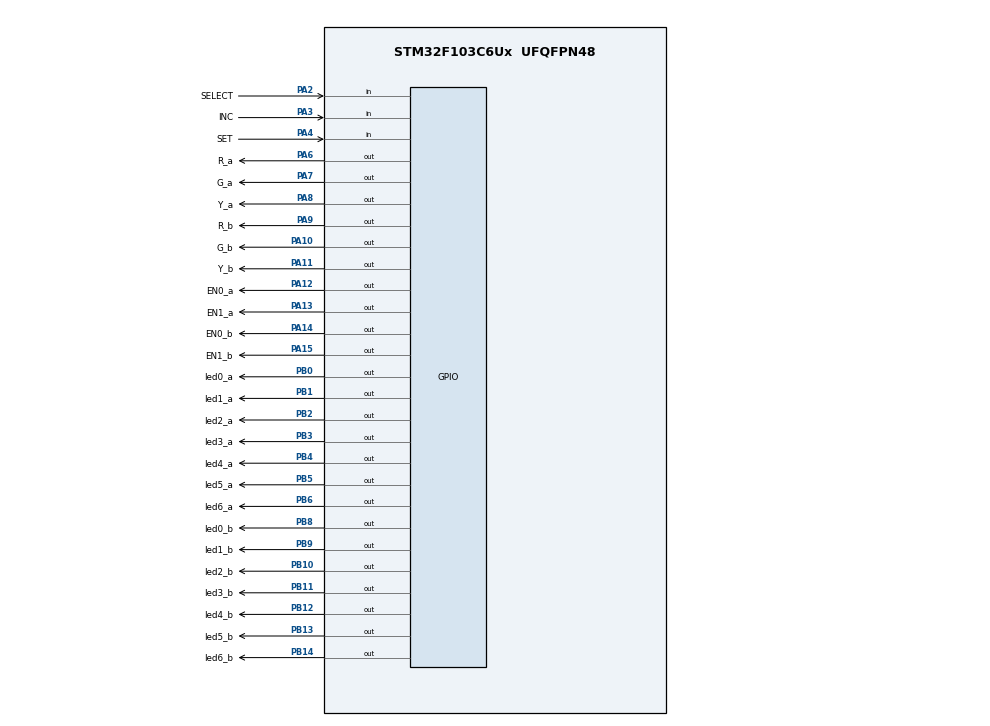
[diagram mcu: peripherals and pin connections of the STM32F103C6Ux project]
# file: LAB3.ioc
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Mcu.Family=STM32F1
Mcu.Name=STM32F103C6Ux
Mcu.Package=UFQFPN48
NVIC.PriorityGroup=NVIC_PRIORITYGROUP_4
NVIC.TIM2_IRQn=true\:0\:0\:false\:false\:true\:true\:true\:true
PA10.GPIO_Label=G_b
PA10.Signal=GPIO_Output
PA11.GPIO_Label=Y_b
PA11.Signal=GPIO_Output
PA12.GPIO_Label=EN0_a
PA12.Signal=GPIO_Output
PA13.GPIO_Label=EN1_a
PA13.Signal=GPIO_Output
PA14.GPIO_Label=EN0_b
PA14.Signal=GPIO_Output
PA15.GPIO_Label=EN1_b
PA15.Signal=GPIO_Output
PA2.GPIO_Label=SELECT
PA2.GPIO_PuPd=GPIO_PULLUP
PA2.Signal=GPIO_Input
PA3.GPIO_Label=INC
PA3.GPIO_PuPd=GPIO_PULLUP
PA3.Signal=GPIO_Input
PA4.GPIO_Label=SET
PA4.GPIO_PuPd=GPIO_PULLUP
PA4.Signal=GPIO_Input
PA6.GPIO_Label=R_a
PA6.Signal=GPIO_Output
PA7.GPIO_Label=G_a
PA7.Signal=GPIO_Output
PA8.GPIO_Label=Y_a
PA8.Signal=GPIO_Output
PA9.GPIO_Label=R_b
PA9.Signal=GPIO_Output
PB0.GPIO_Label=led0_a
PB0.Signal=GPIO_Output
PB1.GPIO_Label=led1_a
PB1.Signal=GPIO_Output
PB10.GPIO_Label=led2_b
PB10.Signal=GPIO_Output
PB11.GPIO_Label=led3_b
PB11.Signal=GPIO_Output
PB12.GPIO_Label=led4_b
PB12.Signal=GPIO_Output
PB13.GPIO_Label=led5_b
PB13.Signal=GPIO_Output
PB14.GPIO_Label=led6_b
PB14.Signal=GPIO_Output
PB2.GPIO_Label=led2_a
PB2.Signal=GPIO_Output
PB3.GPIO_Label=led3_a
PB3.Signal=GPIO_Output
PB4.GPIO_Label=led4_a
PB4.Signal=GPIO_Output
PB5.GPIO_Label=led5_a
PB5.Signal=GPIO_Output
PB6.GPIO_Label=led6_a
PB6.Signal=GPIO_Output
PB8.GPIO_Label=led0_b
PB8.Signal=GPIO_Output
PB9.GPIO_Label=led1_b
PB9.Signal=GPIO_Output
ProjectManager.HeapSize=0x200
ProjectManager.StackSize=0x400
ProjectManager.TargetToolchain=STM32CubeIDE
RCC.APB1Freq_Value=8000000
RCC.APB2Freq_Value=8000000
TIM2.Period=9
TIM2.Prescaler=7999
VP_TIM2_VS_ClockSourceINT.Mode=Internal
board=custom

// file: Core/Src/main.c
/* USER CODE BEGIN Header */
/**
  ******************************************************************************
  * @file           : main.c
  * @brief          : Main program body
  ******************************************************************************
  * @attention
  *
  * Copyright (c) 2022 STMicroelectronics.
  * All rights reserved.
  *
  * This software is licensed under terms that can be found in the LICENSE file
  * in the root directory of this software component.
  * If no LICENSE file comes with this software, it is provided AS-IS.
  *
  ******************************************************************************
  */
/* USER CODE END Header */
#include "main.h"

/* USER CODE BEGIN Includes */
#include "global.h"
#include "input_reading.h"
#include "timer.h"
#include "led_display.h"
#include "fsm_normal.h"
#include "fsm_red_change.h"
#include "fsm_green_change.h"
#include "fsm_yellow_change.h"
/* USER CODE END Includes */

TIM_HandleTypeDef htim2;

void SystemClock_Config(void);
static void MX_GPIO_Init(void);
static void MX_TIM2_Init(void);

int main(void)
{

  /* MCU Configuration--------------------------------------------------------*/

  /* Reset of all peripherals, Initializes the Flash interface and the Systick. */
  HAL_Init();

  /* Configure the system clock */
  SystemClock_Config();

  /* Initialize all configured peripherals */
  MX_GPIO_Init();
  MX_TIM2_Init();
  /* USER CODE BEGIN 2 */

  HAL_TIM_Base_Start_IT(&htim2);
  /* USER CODE END 2 */

  /* Infinite loop */
  /* USER CODE BEGIN WHILE */
  status = INIT;
  setTimer3(10);
  while (1)
  {
	  fsm_normal_run();
	  fsm_red_change_run();
	  fsm_green_change_run();
	  fsm_yellow_change_run();
	  if (timer3_flag == 1){
		  setTimer3(500);
		  update7SEG(index++);
		  if (index > 1){
			  index = 0;
		  }
	  }
    /* USER CODE END WHILE */

  }
}

void SystemClock_Config(void)
{
  RCC_OscInitTypeDef RCC_OscInitStruct = {0};
  RCC_ClkInitTypeDef RCC_ClkInitStruct = {0};

  /** Initializes the RCC Oscillators according to the specified parameters
  * in the RCC_OscInitTypeDef structure.
  */
  RCC_OscInitStruct.OscillatorType = RCC_OSCILLATORTYPE_HSI;
  RCC_OscInitStruct.HSIState = RCC_HSI_ON;
  RCC_OscInitStruct.HSICalibrationValue = RCC_HSICALIBRATION_DEFAULT;
  RCC_OscInitStruct.PLL.PLLState = RCC_PLL_NONE;
  if (HAL_RCC_OscConfig(&RCC_OscInitStruct) != HAL_OK)
  {
    Error_Handler();
  }

  /** Initializes the CPU, AHB and APB buses clocks
  */
  RCC_ClkInitStruct.ClockType = RCC_CLOCKTYPE_HCLK|RCC_CLOCKTYPE_SYSCLK
                              |RCC_CLOCKTYPE_PCLK1|RCC_CLOCKTYPE_PCLK2;
  RCC_ClkInitStruct.SYSCLKSource = RCC_SYSCLKSOURCE_HSI;
  RCC_ClkInitStruct.AHBCLKDivider = RCC_SYSCLK_DIV1;
  RCC_ClkInitStruct.APB1CLKDivider = RCC_HCLK_DIV1;
  RCC_ClkInitStruct.APB2CLKDivider = RCC_HCLK_DIV1;

  if (HAL_RCC_ClockConfig(&RCC_ClkInitStruct, FLASH_LATENCY_0) != HAL_OK)
  {
    Error_Handler();
  }
}

static void MX_TIM2_Init(void)
{

  TIM_ClockConfigTypeDef sClockSourceConfig = {0};
  TIM_MasterConfigTypeDef sMasterConfig = {0};

  htim2.Instance = TIM2;
  htim2.Init.Prescaler = 7999;
  htim2.Init.CounterMode = TIM_COUNTERMODE_UP;
  htim2.Init.Period = 9;
  htim2.Init.ClockDivision = TIM_CLOCKDIVISION_DIV1;
  htim2.Init.AutoReloadPreload = TIM_AUTORELOAD_PRELOAD_DISABLE;
  if (HAL_TIM_Base_Init(&htim2) != HAL_OK)
  {
    Error_Handler();
  }
  sClockSourceConfig.ClockSource = TIM_CLOCKSOURCE_INTERNAL;
  if (HAL_TIM_ConfigClockSource(&htim2, &sClockSourceConfig) != HAL_OK)
  {
    Error_Handler();
  }
  sMasterConfig.MasterOutputTrigger = TIM_TRGO_RESET;
  sMasterConfig.MasterSlaveMode = TIM_MASTERSLAVEMODE_DISABLE;
  if (HAL_TIMEx_MasterConfigSynchronization(&htim2, &sMasterConfig) != HAL_OK)
  {
    Error_Handler();
  }

}

static void MX_GPIO_Init(void)
{
  GPIO_InitTypeDef GPIO_InitStruct = {0};

  /* GPIO Ports Clock Enable */
  __HAL_RCC_GPIOA_CLK_ENABLE();
  __HAL_RCC_GPIOB_CLK_ENABLE();

  /*Configure GPIO pin Output Level */
  HAL_GPIO_WritePin(GPIOA, R_a_Pin|G_a_Pin|Y_a_Pin|R_b_Pin
                          |G_b_Pin|Y_b_Pin|EN0_a_Pin|EN1_a_Pin
                          |EN0_b_Pin|EN1_b_Pin, GPIO_PIN_RESET);

  /*Configure GPIO pin Output Level */
  HAL_GPIO_WritePin(GPIOB, led0_a_Pin|led1_a_Pin|led2_a_Pin|led2_b_Pin
                          |led3_b_Pin|led4_b_Pin|led5_b_Pin|led6_b_Pin
                          |led3_a_Pin|led4_a_Pin|led5_a_Pin|led6_a_Pin
                          |led0_b_Pin|led1_b_Pin, GPIO_PIN_RESET);

  /*Configure GPIO pins : SELECT_Pin INC_Pin SET_Pin */
  GPIO_InitStruct.Pin = SELECT_Pin|INC_Pin|SET_Pin;
  GPIO_InitStruct.Mode = GPIO_MODE_INPUT;
  GPIO_InitStruct.Pull = GPIO_PULLUP;
  HAL_GPIO_Init(GPIOA, &GPIO_InitStruct);

  /*Configure GPIO pins : R_a_Pin G_a_Pin Y_a_Pin R_b_Pin
                           G_b_Pin Y_b_Pin EN0_a_Pin EN1_a_Pin
                           EN0_b_Pin EN1_b_Pin */
  GPIO_InitStruct.Pin = R_a_Pin|G_a_Pin|Y_a_Pin|R_b_Pin
                          |G_b_Pin|Y_b_Pin|EN0_a_Pin|EN1_a_Pin
                          |EN0_b_Pin|EN1_b_Pin;
  GPIO_InitStruct.Mode = GPIO_MODE_OUTPUT_PP;
  GPIO_InitStruct.Pull = GPIO_NOPULL;
  GPIO_InitStruct.Speed = GPIO_SPEED_FREQ_LOW;
  HAL_GPIO_Init(GPIOA, &GPIO_InitStruct);

  /*Configure GPIO pins : led0_a_Pin led1_a_Pin led2_a_Pin led2_b_Pin
                           led3_b_Pin led4_b_Pin led5_b_Pin led6_b_Pin
                           led3_a_Pin led4_a_Pin led5_a_Pin led6_a_Pin
                           led0_b_Pin led1_b_Pin */
  GPIO_InitStruct.Pin = led0_a_Pin|led1_a_Pin|led2_a_Pin|led2_b_Pin
                          |led3_b_Pin|led4_b_Pin|led5_b_Pin|led6_b_Pin
                          |led3_a_Pin|led4_a_Pin|led5_a_Pin|led6_a_Pin
                          |led0_b_Pin|led1_b_Pin;
  GPIO_InitStruct.Mode = GPIO_MODE_OUTPUT_PP;
  GPIO_InitStruct.Pull = GPIO_NOPULL;
  GPIO_InitStruct.Speed = GPIO_SPEED_FREQ_LOW;
  HAL_GPIO_Init(GPIOB, &GPIO_InitStruct);

}

void Error_Handler(void)
{
  __disable_irq();
  while (1)
  {
  }
}
